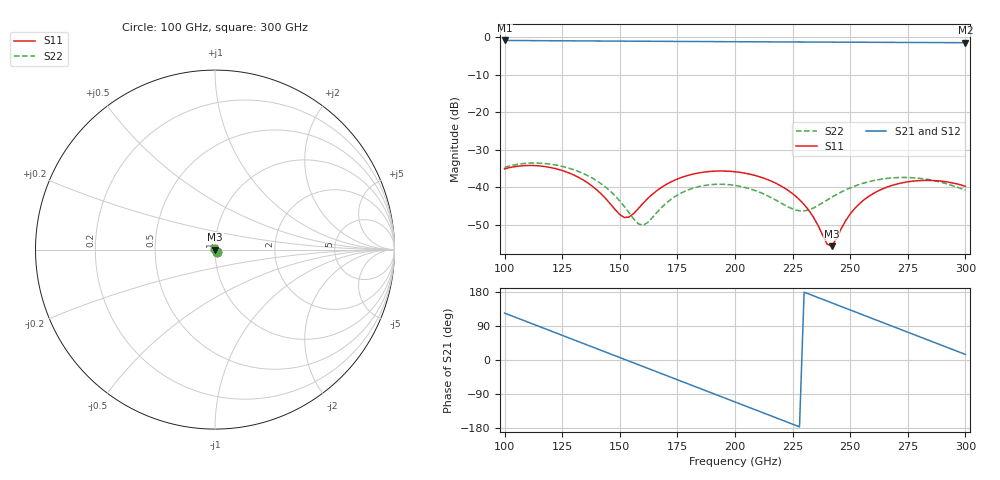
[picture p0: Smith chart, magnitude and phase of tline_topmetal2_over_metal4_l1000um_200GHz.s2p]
#  GHZ S DB R 50
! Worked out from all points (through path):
!   101 points, 100 GHz to 300 GHz, reference 50 ohm
!   highest |S21| = -0.90 dB at 100 GHz (marker M1); lowest = -1.5 dB at 300 GHz (marker M2)
!   group delay of S21, straight-line fit = 6.51 ps
!   lowest |S11| = -55.8 dB at 242 GHz (marker M3), VSWR 1.00, Z = 50.2 + j0.044 ohm
!   |S11| at or under -10 dB: start of sweep to end of sweep
!   |S22| runs from -50.2 to -33.6 dB; largest |S21 - S12| = 1.6e-13
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100  -35.15 -55.2  -0.90 123.7  -0.90 123.7  -34.75 -55.5
108  -34.31 -77.3  -0.92 105.0  -0.92 105.0  -33.75 -77.5
116  -34.41 -99.8  -0.95 86.2  -0.95 86.2  -33.65 -99.6
124  -35.40 -123.1  -0.98 67.4  -0.98 67.4  -34.33 -122.2
134  -38.07 -155.1  -1.02 44.0  -1.02 44.0  -36.35 -151.9
144  -43.16 161.9  -1.05 20.5  -1.05 20.5  -40.11 174.2
152  -48.12 91.4  -1.08 1.8  -1.08 1.8  -45.21 136.1
160  -44.40 12.7  -1.11 -17.0  -1.11 -17.0  -50.19 55.0
168  -40.12 -26.4  -1.13 -35.7  -1.13 -35.7  -45.53 -19.0
176  -37.61 -54.7  -1.16 -54.5  -1.16 -54.5  -41.80 -55.7
184  -36.26 -80.0  -1.18 -73.2  -1.18 -73.2  -39.93 -84.4
200  -35.92 -127.8  -1.23 -110.7  -1.23 -110.7  -39.56 -138.5
218  -39.06 177.7  -1.28 -152.9  -1.28 -152.9  -43.58 147.2
228  -43.37 143.7  -1.31 -176.4  -1.31 -176.4  -46.35 79.2
234  -48.00 116.5  -1.32 169.6  -1.32 169.6  -45.59 31.6
240  -55.25 55.4  -1.34 155.5  -1.34 155.5  -43.45 -6.7
242  -55.77 15.7  -1.34 150.8  -1.34 150.8  -42.71 -17.2
252  -45.69 -74.0  -1.37 127.3  -1.37 127.3  -39.74 -60.8
268  -39.60 -130.1  -1.41 89.8  -1.41 89.8  -37.57 -118.1
282  -38.23 -173.6  -1.45 56.9  -1.45 56.9  -37.81 -166.8
292  -38.63 155.2  -1.47 33.5  -1.47 33.5  -39.15 155.4
300  -39.78 129.3  -1.49 14.7  -1.49 14.7  -40.85 120.2
